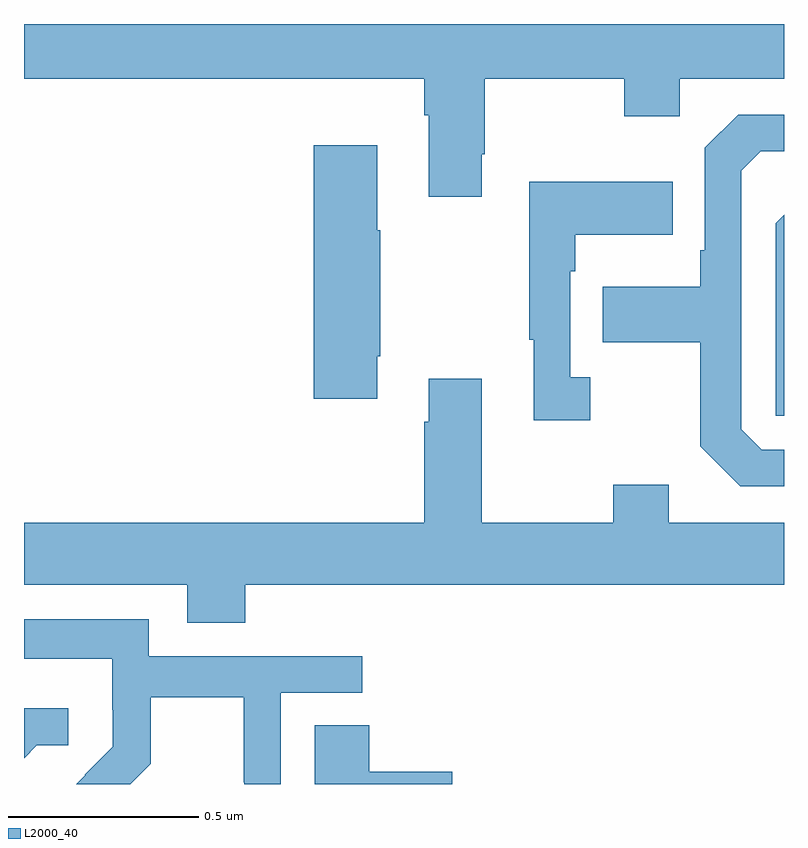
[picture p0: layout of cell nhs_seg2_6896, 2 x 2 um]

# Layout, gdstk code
import gdstk
lib = gdstk.Library(unit=1e-6, precision=1e-09)
def P(c, l, *ps):  # polygons
    for p in ps: c.add(gdstk.Polygon(p, *l))
L2000_40 = (2000, 40)

nhs_seg2_6896 = lib.new_cell('nhs_seg2_6896')
P(nhs_seg2_6896, L2000_40, [(198.58,627.557),(198.726,627.557),(198.726,627.656),(199,627.656),(199,627.8),(197,627.8),(197,627.656),(198.053,627.656),(198.053,627.56),(198.065,627.56),(198.065,627.345),(198.205,627.345),(198.205,627.457),(198.213,627.457),(198.213,627.656),(198.58,627.656)],
  [(199,626.679),(198.942,626.679),(198.888,626.733),(198.888,627.414),(198.939,627.465),(199,627.465),(199,627.561),(198.879,627.561),(198.792,627.474),(198.792,627.205),(198.78,627.205),(198.78,627.109),(198.523,627.109),(198.523,626.962),(198.78,626.962),(198.78,626.689),(198.885,626.583),(199,626.583)],
  [(197.929,626.926),(197.937,626.926),(197.937,627.257),(197.929,627.257),(197.929,627.481),(197.762,627.481),(197.762,626.814),(197.929,626.814)],
  [(198.49,626.87),(198.438,626.87),(198.438,627.149),(198.451,627.149),(198.451,627.245),(198.707,627.245),(198.707,627.385),(198.33,627.385),(198.33,626.969),(198.341,626.969),(198.341,626.757),(198.49,626.757)],
  [(199,627.298),(198.978,627.276),(198.978,626.769),(199,626.769)],
  [(197.582,626.324),(199,626.324),(199,626.488),(198.697,626.488),(198.697,626.587),(198.55,626.587),(198.55,626.488),(198.205,626.488),(198.205,626.866),(198.065,626.866),(198.065,626.753),(198.053,626.753),(198.053,626.488),(197,626.488),(197,626.324),(197.429,626.324),(197.429,626.225),(197.582,626.225)],
  [(197.333,625.853),(197.333,626.028),(197.578,626.028),(197.578,625.804),(197.58,625.804),(197.58,625.8),(197.676,625.8),(197.676,626.04),(197.89,626.04),(197.89,626.136),(197.328,626.136),(197.328,626.233),(197,626.233),(197,626.129),(197.232,626.129),(197.232,625.995),(197.234,625.995),(197.234,625.898),(197.16,625.824),(197.161,625.823),(197.138,625.8),(197.28,625.8)],
  [(197.034,625.902),(197.116,625.902),(197.116,625.999),(197,625.999),(197,625.868)],
  [(198.127,625.832),(197.909,625.832),(197.909,625.955),(197.765,625.955),(197.765,625.8),(198.127,625.8)])

lib.write_gds('nhs_seg2_6896.gds')
